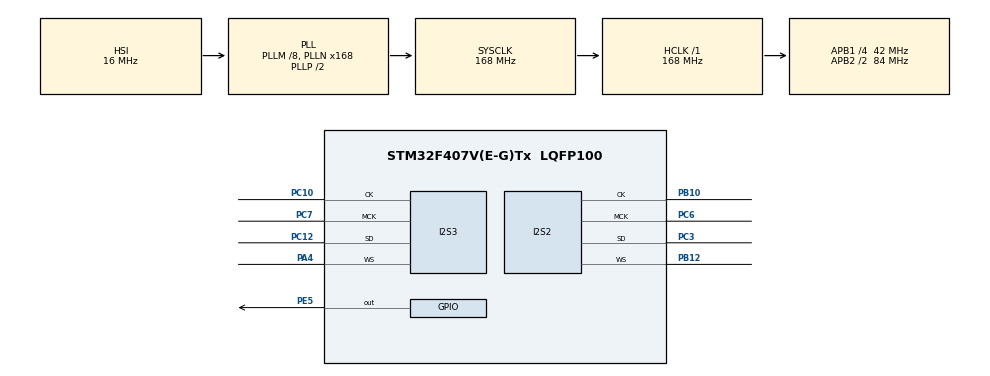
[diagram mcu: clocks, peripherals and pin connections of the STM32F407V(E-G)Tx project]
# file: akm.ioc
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Dma.Request0=SPI2_TX
Dma.Request1=SPI3_RX
Dma.SPI2_TX.0.Direction=DMA_MEMORY_TO_PERIPH
Dma.SPI2_TX.0.FIFOMode=DMA_FIFOMODE_DISABLE
Dma.SPI2_TX.0.Instance=DMA1_Stream4
Dma.SPI2_TX.0.MemDataAlignment=DMA_MDATAALIGN_HALFWORD
Dma.SPI2_TX.0.MemInc=DMA_MINC_ENABLE
Dma.SPI2_TX.0.Mode=DMA_CIRCULAR
Dma.SPI2_TX.0.PeriphDataAlignment=DMA_PDATAALIGN_HALFWORD
Dma.SPI2_TX.0.PeriphInc=DMA_PINC_DISABLE
Dma.SPI2_TX.0.Priority=DMA_PRIORITY_LOW
Dma.SPI3_RX.1.Direction=DMA_PERIPH_TO_MEMORY
Dma.SPI3_RX.1.FIFOMode=DMA_FIFOMODE_DISABLE
Dma.SPI3_RX.1.Instance=DMA1_Stream0
Dma.SPI3_RX.1.MemDataAlignment=DMA_MDATAALIGN_HALFWORD
Dma.SPI3_RX.1.MemInc=DMA_MINC_ENABLE
Dma.SPI3_RX.1.Mode=DMA_CIRCULAR
Dma.SPI3_RX.1.PeriphDataAlignment=DMA_PDATAALIGN_HALFWORD
Dma.SPI3_RX.1.PeriphInc=DMA_PINC_DISABLE
Dma.SPI3_RX.1.Priority=DMA_PRIORITY_LOW
I2S2.AudioFreq=I2S_AUDIOFREQ_44K
I2S2.DataFormat=I2S_DATAFORMAT_24B
I2S2.ErrorAudioFreq=10.97 %
I2S2.FullDuplexMode=I2S_FULLDUPLEXMODE_DISABLE
I2S2.Instance=SPI$Index
I2S2.RealAudioFreq=48.828 KHz
I2S2.Standard=I2S_STANDARD_PHILIPS
I2S2.VirtualMode=I2S_MODE_MASTER
I2S3.AudioFreq=I2S_AUDIOFREQ_44K
I2S3.DataFormat=I2S_DATAFORMAT_24B
I2S3.ErrorAudioFreq=10.97 %
I2S3.FullDuplexMode=I2S_FULLDUPLEXMODE_DISABLE
I2S3.Instance=SPI$Index
I2S3.Mode=I2S_MODE_MASTER_RX
I2S3.RealAudioFreq=48.828 KHz
I2S3.VirtualMode=I2S_MODE_MASTER
Mcu.Family=STM32F4
Mcu.Name=STM32F407V(E-G)Tx
Mcu.Package=LQFP100
NVIC.DMA1_Stream0_IRQn=true\:0\:0\:false\:false\:true\:false\:true
NVIC.DMA1_Stream4_IRQn=true\:0\:0\:false\:false\:true\:false\:true
NVIC.PriorityGroup=NVIC_PRIORITYGROUP_0
PA4.Mode=Half_Duplex_Master
PA4.Signal=I2S3_WS
PB10.Mode=Half_Duplex_Master
PB10.Signal=I2S2_CK
PB12.Mode=Half_Duplex_Master
PB12.Signal=I2S2_WS
PC10.Mode=Half_Duplex_Master
PC10.Signal=I2S3_CK
PC12.Mode=Half_Duplex_Master
PC12.Signal=I2S3_SD
PC3.Mode=Half_Duplex_Master
PC3.Signal=I2S2_SD
PC6.Mode=Master_Clock_Activated
PC6.Signal=I2S2_MCK
PC7.Mode=Master_Clock_Activated
PC7.Signal=I2S3_MCK
PE5.GPIO_PuPd=GPIO_PULLDOWN
PE5.Signal=GPIO_Output
ProjectManager.HeapSize=0x200
ProjectManager.StackSize=0x400
ProjectManager.TargetToolchain=STM32CubeIDE
RCC.48MHZClocksFreq_Value=48000000
RCC.AHBFreq_Value=168000000
RCC.APB1CLKDivider=RCC_HCLK_DIV4
RCC.APB1Freq_Value=42000000
RCC.APB1TimFreq_Value=84000000
RCC.APB2CLKDivider=RCC_HCLK_DIV2
RCC.APB2Freq_Value=84000000
RCC.APB2TimFreq_Value=168000000
RCC.CortexFreq_Value=168000000
RCC.HCLKFreq_Value=168000000
RCC.HSE_VALUE=8000000
RCC.HSI_VALUE=16000000
RCC.LSE_VALUE=32768
RCC.PLLI2SN=50
RCC.PLLM=8
RCC.PLLN=168
RCC.PLLQ=7
RCC.SYSCLKFreq_VALUE=168000000
RCC.SYSCLKSource=RCC_SYSCLKSOURCE_PLLCLK
RCC.VCOOutputFreq_Value=336000000
board=STM32F4DISCOVERY

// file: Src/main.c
/* USER CODE BEGIN Header */
/**
  ******************************************************************************
  * @file           : main.c
  * @brief          : Main program body
  ******************************************************************************
  * @attention
  *
  * <h2><center>&copy; Copyright (c) 2019 STMicroelectronics.
  * All rights reserved.</center></h2>
  *
  * This software component is licensed by ST under BSD 3-Clause license,
  * the "License"; You may not use this file except in compliance with the
  * License. You may obtain a copy of the License at:
  *                        opensource.org/licenses/BSD-3-Clause
  *
  ******************************************************************************
  */
/* USER CODE END Header */

#include "main.h"

/* USER CODE BEGIN Includes */
#include <math.h>
/* USER CODE END Includes */

I2S_HandleTypeDef hi2s2;
I2S_HandleTypeDef hi2s3;
DMA_HandleTypeDef hdma_spi2_tx;
DMA_HandleTypeDef hdma_spi3_rx;

void SystemClock_Config(void);
static void MX_GPIO_Init(void);
static void MX_DMA_Init(void);
static void MX_I2S2_Init(void);
static void MX_I2S3_Init(void);
/* USER CODE BEGIN PFP */
void process_buf(uint16_t offset);
/* USER CODE END PFP */

/* USER CODE BEGIN 0 */
#define PI 3.14159f

//Sample rate and Output freq
#define F_SAMPLE		44100.0f
#define F_OUT			8000.0f

float mySinVal;
float sample_dt;
uint16_t sample_N;
uint16_t i_t;
int32_t dataI2S[4400];

#define ABUF_SIZE 256	// DMA seems to not transfer more than 256 bytes at a time
int32_t ain[ABUF_SIZE];
int32_t aout[ABUF_SIZE];

/* USER CODE END 0 */

int main(void)
{
  /* USER CODE BEGIN 1 */
  sample_dt = F_OUT/F_SAMPLE;
  sample_N = F_SAMPLE/F_OUT;
  /* USER CODE END 1 */

  /* MCU Configuration--------------------------------------------------------*/

  /* Reset of all peripherals, Initializes the Flash interface and the Systick. */
  HAL_Init();

  /* Configure the system clock */
  SystemClock_Config();

  /* Initialize all configured peripherals */
  MX_GPIO_Init();
  MX_DMA_Init();
  MX_I2S2_Init();
  MX_I2S3_Init();
  /* USER CODE BEGIN 2 */

  //Build Sine wave
//  for (uint16_t i=0; i<sample_N; i++) {
//  	mySinVal = sinf(i*2*PI*sample_dt);
//  	dataI2S[i*2] = (mySinVal)*1048575;    //left data (L WS) (0 2 4 6 8 10 12)
//  	dataI2S[i*2 + 1] = (mySinVal)*1048575; //Right data (H WS)  (1 3 5 7 9 11 13)
//  	dataI2S[i*2] = ((dataI2S[i*2] & 0x00FFFF00) >> 8) | ((dataI2S[i*2] & 0xFF) << 24);
//  	dataI2S[i*2 + 1] = ((dataI2S[i*2 + 1] & 0x00FFFF00) >> 8) | ((dataI2S[i*2 + 1] & 0xFF) << 24);
//  }
//  HAL_I2S_Transmit_DMA(&hi2s2, (uint16_t *)dataI2S, sample_N*2);

  HAL_Delay(500);
  HAL_GPIO_WritePin(GPIOE, GPIO_PIN_5, GPIO_PIN_SET);

  HAL_I2S_Receive_DMA(&hi2s3, (uint16_t *)ain, 256);
  HAL_I2S_Transmit_DMA(&hi2s2, (uint16_t *)aout, 256);

  /* USER CODE END 2 */

  /* Infinite loop */
  while (1)
  {

  }
}

void SystemClock_Config(void)
{
  RCC_OscInitTypeDef RCC_OscInitStruct = {0};
  RCC_ClkInitTypeDef RCC_ClkInitStruct = {0};
  RCC_PeriphCLKInitTypeDef PeriphClkInitStruct = {0};

  /** Configure the main internal regulator output voltage
  */
  __HAL_RCC_PWR_CLK_ENABLE();
  __HAL_PWR_VOLTAGESCALING_CONFIG(PWR_REGULATOR_VOLTAGE_SCALE1);
  /** Initializes the CPU, AHB and APB busses clocks
  */
  RCC_OscInitStruct.OscillatorType = RCC_OSCILLATORTYPE_HSI;
  RCC_OscInitStruct.HSIState = RCC_HSI_ON;
  RCC_OscInitStruct.HSICalibrationValue = RCC_HSICALIBRATION_DEFAULT;
  RCC_OscInitStruct.PLL.PLLState = RCC_PLL_ON;
  RCC_OscInitStruct.PLL.PLLSource = RCC_PLLSOURCE_HSI;
  RCC_OscInitStruct.PLL.PLLM = 8;
  RCC_OscInitStruct.PLL.PLLN = 168;
  RCC_OscInitStruct.PLL.PLLP = RCC_PLLP_DIV2;
  RCC_OscInitStruct.PLL.PLLQ = 7;
  if (HAL_RCC_OscConfig(&RCC_OscInitStruct) != HAL_OK)
  {
    Error_Handler();
  }
  /** Initializes the CPU, AHB and APB busses clocks
  */
  RCC_ClkInitStruct.ClockType = RCC_CLOCKTYPE_HCLK|RCC_CLOCKTYPE_SYSCLK
                              |RCC_CLOCKTYPE_PCLK1|RCC_CLOCKTYPE_PCLK2;
  RCC_ClkInitStruct.SYSCLKSource = RCC_SYSCLKSOURCE_PLLCLK;
  RCC_ClkInitStruct.AHBCLKDivider = RCC_SYSCLK_DIV1;
  RCC_ClkInitStruct.APB1CLKDivider = RCC_HCLK_DIV4;
  RCC_ClkInitStruct.APB2CLKDivider = RCC_HCLK_DIV2;

  if (HAL_RCC_ClockConfig(&RCC_ClkInitStruct, FLASH_LATENCY_5) != HAL_OK)
  {
    Error_Handler();
  }
  PeriphClkInitStruct.PeriphClockSelection = RCC_PERIPHCLK_I2S;
  PeriphClkInitStruct.PLLI2S.PLLI2SN = 50;
  PeriphClkInitStruct.PLLI2S.PLLI2SR = 2;
  if (HAL_RCCEx_PeriphCLKConfig(&PeriphClkInitStruct) != HAL_OK)
  {
    Error_Handler();
  }
}

static void MX_I2S2_Init(void)
{

  hi2s2.Instance = SPI2;
  hi2s2.Init.Mode = I2S_MODE_MASTER_TX;
  hi2s2.Init.Standard = I2S_STANDARD_PHILIPS;
  hi2s2.Init.DataFormat = I2S_DATAFORMAT_24B;
  hi2s2.Init.MCLKOutput = I2S_MCLKOUTPUT_ENABLE;
  hi2s2.Init.AudioFreq = I2S_AUDIOFREQ_44K;
  hi2s2.Init.CPOL = I2S_CPOL_LOW;
  hi2s2.Init.ClockSource = I2S_CLOCK_PLL;
  hi2s2.Init.FullDuplexMode = I2S_FULLDUPLEXMODE_DISABLE;
  if (HAL_I2S_Init(&hi2s2) != HAL_OK)
  {
    Error_Handler();
  }

}

static void MX_I2S3_Init(void)
{

  hi2s3.Instance = SPI3;
  hi2s3.Init.Mode = I2S_MODE_MASTER_RX;
  hi2s3.Init.Standard = I2S_STANDARD_PHILIPS;
  hi2s3.Init.DataFormat = I2S_DATAFORMAT_24B;
  hi2s3.Init.MCLKOutput = I2S_MCLKOUTPUT_ENABLE;
  hi2s3.Init.AudioFreq = I2S_AUDIOFREQ_44K;
  hi2s3.Init.CPOL = I2S_CPOL_LOW;
  hi2s3.Init.ClockSource = I2S_CLOCK_PLL;
  hi2s3.Init.FullDuplexMode = I2S_FULLDUPLEXMODE_DISABLE;
  if (HAL_I2S_Init(&hi2s3) != HAL_OK)
  {
    Error_Handler();
  }

}

static void MX_DMA_Init(void)
{

  /* DMA controller clock enable */
  __HAL_RCC_DMA1_CLK_ENABLE();

  /* DMA interrupt init */
  /* DMA1_Stream0_IRQn interrupt configuration */
  HAL_NVIC_SetPriority(DMA1_Stream0_IRQn, 0, 0);
  HAL_NVIC_EnableIRQ(DMA1_Stream0_IRQn);
  /* DMA1_Stream4_IRQn interrupt configuration */
  HAL_NVIC_SetPriority(DMA1_Stream4_IRQn, 0, 0);
  HAL_NVIC_EnableIRQ(DMA1_Stream4_IRQn);

}

static void MX_GPIO_Init(void)
{
  GPIO_InitTypeDef GPIO_InitStruct = {0};

  /* GPIO Ports Clock Enable */
  __HAL_RCC_GPIOE_CLK_ENABLE();
  __HAL_RCC_GPIOC_CLK_ENABLE();
  __HAL_RCC_GPIOA_CLK_ENABLE();
  __HAL_RCC_GPIOB_CLK_ENABLE();

  /*Configure GPIO pin Output Level */
  HAL_GPIO_WritePin(GPIOE, GPIO_PIN_5, GPIO_PIN_RESET);

  /*Configure GPIO pin : PE5 */
  GPIO_InitStruct.Pin = GPIO_PIN_5;
  GPIO_InitStruct.Mode = GPIO_MODE_OUTPUT_PP;
  GPIO_InitStruct.Pull = GPIO_PULLDOWN;
  GPIO_InitStruct.Speed = GPIO_SPEED_FREQ_LOW;
  HAL_GPIO_Init(GPIOE, &GPIO_InitStruct);

}

/* USER CODE BEGIN 4 */

void process_audio() {
//	float r  = 0.2;
//	float f  = 1000;
//
//	float c = 1.0 / tan(PI * f / F_SAMPLE);
//	float a1 = 1.0 / ( 1.0 + r * c + c * c);
//	float a2 = 2* a1;
//	float a3 = a1;
//	float b1 = 2.0 * ( 1.0 - c*c) * a1;
//	float b2 = ( 1.0 - r * c + c * c) * a1;
//
//	float prev1 = 0;
//	float prev2 = 0;

//	aout[i] = (a1 * aout[i]) + (a2 * aout[i-1]) + (a3 * aout[i-2]) - (b1*prev1) - (b2*prev2);
//	prev1 = aout[i];
//	prev2 = prev1;

}

void process_buf(uint16_t offset) {
	for (uint16_t i = 0; i < ABUF_SIZE/2; i++) {
		i+=offset;
		aout[i] = ((ain[i] & 0x0000FFFF) << 8) | ((ain[i] & 0xFF000000) >> 24);
		process_audio();
		dataI2S[i] = aout[i];
		aout[i] = ((aout[i] & 0x00FFFF00) >> 8) | ((aout[i] & 0xFF) << 24);
		i-=offset;
	}
}

void HAL_I2S_RxHalfCpltCallback(I2S_HandleTypeDef *hi2s)
{
  /* Prevent unused argument(s) compilation warning */
  UNUSED(hi2s);

  /* NOTE : This function Should not be modified, when the callback is needed,
            the HAL_I2S_RxCpltCallback could be implemented in the user file
   */

  process_buf(0);

}

void HAL_I2S_RxCpltCallback(I2S_HandleTypeDef *hi2s)
{
  /* Prevent unused argument(s) compilation warning */
  UNUSED(hi2s);

  /* NOTE : This function Should not be modified, when the callback is needed,
            the HAL_I2S_RxCpltCallback could be implemented in the user file
   */

  process_buf(ABUF_SIZE/2);

}

/* USER CODE END 4 */

void Error_Handler(void)
{
}

/************************ (C) COPYRIGHT STMicroelectronics *****END OF FILE****/
